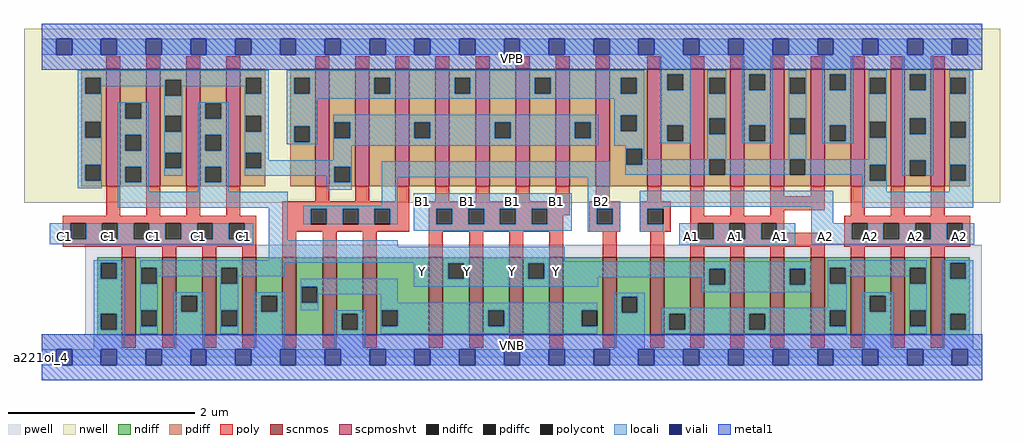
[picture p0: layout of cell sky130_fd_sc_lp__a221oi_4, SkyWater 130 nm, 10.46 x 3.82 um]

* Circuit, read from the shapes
.subckt sky130_fd_sc_lp__a221oi_4 A1 A2 B1 B2 C1 VGND VNB VPB VPWR Y
XM1 Y C1 VGND VNB sky130_fd_pr__nfet_01v8 w=0.84 l=0.15 m=4
XM2 n1 B2 VGND VNB sky130_fd_pr__nfet_01v8 w=0.84 l=0.15 m=4
XM3 Y B1 n1 VNB sky130_fd_pr__nfet_01v8 w=0.84 l=0.15 m=4
XM4 n2 A2 VGND VNB sky130_fd_pr__nfet_01v8 w=0.84 l=0.15 m=4
XM5 Y A1 n2 VNB sky130_fd_pr__nfet_01v8 w=0.84 l=0.15 m=4
XM6 Y C1 n3 VPB sky130_fd_pr__pfet_01v8_hvt w=1.26 l=0.15 m=4
XM7 n3 B2 n4 VPB sky130_fd_pr__pfet_01v8_hvt w=1.26 l=0.15 m=4
XM8 n4 B1 n3 VPB sky130_fd_pr__pfet_01v8_hvt w=1.26 l=0.15 m=4
XM9 VPWR A2 n4 VPB sky130_fd_pr__pfet_01v8_hvt w=1.26 l=0.15 m=4
XM10 n4 A1 VPWR VPB sky130_fd_pr__pfet_01v8_hvt w=1.26 l=0.15 m=4
.ends

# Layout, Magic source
magic
tech sky130A
magscale 1 2
<< nwell >>
rect -38 331 2054 704
<< pwell >>
rect 93 49 2015 241
rect 0 0 2016 49
<< scnmos >>
rect 172 47 202 215
rect 258 47 288 215
rect 344 47 374 215
rect 430 47 460 215
rect 516 47 546 215
rect 602 47 632 215
rect 688 47 718 215
rect 830 47 860 215
rect 916 47 946 215
rect 1002 47 1032 215
rect 1088 47 1118 215
rect 1202 47 1232 215
rect 1304 47 1334 215
rect 1390 47 1420 215
rect 1476 47 1506 215
rect 1562 47 1592 215
rect 1648 47 1678 215
rect 1734 47 1764 215
rect 1820 47 1850 215
rect 1906 47 1936 215
<< scpmoshvt >>
rect 138 367 168 619
rect 224 367 254 619
rect 310 367 340 619
rect 396 367 426 619
rect 586 367 616 619
rect 672 367 702 619
rect 758 367 788 619
rect 844 367 874 619
rect 930 367 960 619
rect 1016 367 1046 619
rect 1102 367 1132 619
rect 1188 367 1218 619
rect 1298 367 1328 619
rect 1390 367 1420 619
rect 1476 367 1506 619
rect 1562 367 1592 619
rect 1648 367 1678 619
rect 1734 367 1764 619
rect 1820 367 1850 619
rect 1906 367 1936 619
<< ndiff >>
rect 119 203 172 215
rect 119 169 127 203
rect 161 169 172 203
rect 119 93 172 169
rect 119 59 127 93
rect 161 59 172 93
rect 119 47 172 59
rect 202 192 258 215
rect 202 158 213 192
rect 247 158 258 192
rect 202 101 258 158
rect 202 67 213 101
rect 247 67 258 101
rect 202 47 258 67
rect 288 132 344 215
rect 288 98 299 132
rect 333 98 344 132
rect 288 47 344 98
rect 374 192 430 215
rect 374 158 385 192
rect 419 158 430 192
rect 374 101 430 158
rect 374 67 385 101
rect 419 67 430 101
rect 374 47 430 67
rect 460 132 516 215
rect 460 98 471 132
rect 505 98 516 132
rect 460 47 516 98
rect 546 151 602 215
rect 546 117 557 151
rect 591 117 602 151
rect 546 47 602 117
rect 632 93 688 215
rect 632 59 643 93
rect 677 59 688 93
rect 632 47 688 59
rect 718 101 830 215
rect 718 67 729 101
rect 763 67 830 101
rect 718 47 830 67
rect 860 202 916 215
rect 860 168 871 202
rect 905 168 916 202
rect 860 47 916 168
rect 946 101 1002 215
rect 946 67 957 101
rect 991 67 1002 101
rect 946 47 1002 67
rect 1032 202 1088 215
rect 1032 168 1043 202
rect 1077 168 1088 202
rect 1032 47 1088 168
rect 1118 101 1202 215
rect 1118 67 1157 101
rect 1191 67 1202 101
rect 1118 47 1202 67
rect 1232 130 1304 215
rect 1232 96 1243 130
rect 1277 96 1304 130
rect 1232 47 1304 96
rect 1334 93 1390 215
rect 1334 59 1345 93
rect 1379 59 1390 93
rect 1334 47 1390 59
rect 1420 190 1476 215
rect 1420 156 1431 190
rect 1465 156 1476 190
rect 1420 47 1476 156
rect 1506 93 1562 215
rect 1506 59 1517 93
rect 1551 59 1562 93
rect 1506 47 1562 59
rect 1592 190 1648 215
rect 1592 156 1603 190
rect 1637 156 1648 190
rect 1592 47 1648 156
rect 1678 192 1734 215
rect 1678 158 1689 192
rect 1723 158 1734 192
rect 1678 101 1734 158
rect 1678 67 1689 101
rect 1723 67 1734 101
rect 1678 47 1734 67
rect 1764 132 1820 215
rect 1764 98 1775 132
rect 1809 98 1820 132
rect 1764 47 1820 98
rect 1850 192 1906 215
rect 1850 158 1861 192
rect 1895 158 1906 192
rect 1850 101 1906 158
rect 1850 67 1861 101
rect 1895 67 1906 101
rect 1850 47 1906 67
rect 1936 203 1989 215
rect 1936 169 1947 203
rect 1981 169 1989 203
rect 1936 93 1989 169
rect 1936 59 1947 93
rect 1981 59 1989 93
rect 1936 47 1989 59
<< pdiff >>
rect 85 599 138 619
rect 85 565 93 599
rect 127 565 138 599
rect 85 505 138 565
rect 85 471 93 505
rect 127 471 138 505
rect 85 413 138 471
rect 85 379 93 413
rect 127 379 138 413
rect 85 367 138 379
rect 168 545 224 619
rect 168 511 179 545
rect 213 511 224 545
rect 168 477 224 511
rect 168 443 179 477
rect 213 443 224 477
rect 168 409 224 443
rect 168 375 179 409
rect 213 375 224 409
rect 168 367 224 375
rect 254 595 310 619
rect 254 561 265 595
rect 299 561 310 595
rect 254 518 310 561
rect 254 484 265 518
rect 299 484 310 518
rect 254 439 310 484
rect 254 405 265 439
rect 299 405 310 439
rect 254 367 310 405
rect 340 545 396 619
rect 340 511 351 545
rect 385 511 396 545
rect 340 477 396 511
rect 340 443 351 477
rect 385 443 396 477
rect 340 409 396 443
rect 340 375 351 409
rect 385 375 396 409
rect 340 367 396 375
rect 426 599 479 619
rect 426 565 437 599
rect 471 565 479 599
rect 426 518 479 565
rect 426 484 437 518
rect 471 484 479 518
rect 426 439 479 484
rect 426 405 437 439
rect 471 405 479 439
rect 426 367 479 405
rect 533 599 586 619
rect 533 565 541 599
rect 575 565 586 599
rect 533 495 586 565
rect 533 461 541 495
rect 575 461 586 495
rect 533 367 586 461
rect 616 504 672 619
rect 616 470 627 504
rect 661 470 672 504
rect 616 409 672 470
rect 616 375 627 409
rect 661 375 672 409
rect 616 367 672 375
rect 702 599 758 619
rect 702 565 713 599
rect 747 565 758 599
rect 702 367 758 565
rect 788 504 844 619
rect 788 470 799 504
rect 833 470 844 504
rect 788 367 844 470
rect 874 599 930 619
rect 874 565 885 599
rect 919 565 930 599
rect 874 367 930 565
rect 960 504 1016 619
rect 960 470 971 504
rect 1005 470 1016 504
rect 960 367 1016 470
rect 1046 599 1102 619
rect 1046 565 1057 599
rect 1091 565 1102 599
rect 1046 367 1102 565
rect 1132 504 1188 619
rect 1132 470 1143 504
rect 1177 470 1188 504
rect 1132 367 1188 470
rect 1218 599 1298 619
rect 1218 565 1241 599
rect 1275 565 1298 599
rect 1218 519 1298 565
rect 1218 485 1241 519
rect 1275 485 1298 519
rect 1218 447 1298 485
rect 1218 413 1253 447
rect 1287 413 1298 447
rect 1218 367 1298 413
rect 1328 607 1390 619
rect 1328 573 1341 607
rect 1375 573 1390 607
rect 1328 497 1390 573
rect 1328 463 1341 497
rect 1375 463 1390 497
rect 1328 367 1390 463
rect 1420 599 1476 619
rect 1420 565 1431 599
rect 1465 565 1476 599
rect 1420 512 1476 565
rect 1420 478 1431 512
rect 1465 478 1476 512
rect 1420 425 1476 478
rect 1420 391 1431 425
rect 1465 391 1476 425
rect 1420 367 1476 391
rect 1506 607 1562 619
rect 1506 573 1517 607
rect 1551 573 1562 607
rect 1506 497 1562 573
rect 1506 463 1517 497
rect 1551 463 1562 497
rect 1506 367 1562 463
rect 1592 599 1648 619
rect 1592 565 1603 599
rect 1637 565 1648 599
rect 1592 512 1648 565
rect 1592 478 1603 512
rect 1637 478 1648 512
rect 1592 425 1648 478
rect 1592 391 1603 425
rect 1637 391 1648 425
rect 1592 367 1648 391
rect 1678 607 1734 619
rect 1678 573 1689 607
rect 1723 573 1734 607
rect 1678 497 1734 573
rect 1678 463 1689 497
rect 1723 463 1734 497
rect 1678 367 1734 463
rect 1764 599 1820 619
rect 1764 565 1775 599
rect 1809 565 1820 599
rect 1764 505 1820 565
rect 1764 471 1775 505
rect 1809 471 1820 505
rect 1764 413 1820 471
rect 1764 379 1775 413
rect 1809 379 1820 413
rect 1764 367 1820 379
rect 1850 607 1906 619
rect 1850 573 1861 607
rect 1895 573 1906 607
rect 1850 512 1906 573
rect 1850 478 1861 512
rect 1895 478 1906 512
rect 1850 423 1906 478
rect 1850 389 1861 423
rect 1895 389 1906 423
rect 1850 367 1906 389
rect 1936 599 1989 619
rect 1936 565 1947 599
rect 1981 565 1989 599
rect 1936 505 1989 565
rect 1936 471 1947 505
rect 1981 471 1989 505
rect 1936 413 1989 471
rect 1936 379 1947 413
rect 1981 379 1989 413
rect 1936 367 1989 379
<< ndiffc >>
rect 127 169 161 203
rect 127 59 161 93
rect 213 158 247 192
rect 213 67 247 101
rect 299 98 333 132
rect 385 158 419 192
rect 385 67 419 101
rect 471 98 505 132
rect 557 117 591 151
rect 643 59 677 93
rect 729 67 763 101
rect 871 168 905 202
rect 957 67 991 101
rect 1043 168 1077 202
rect 1157 67 1191 101
rect 1243 96 1277 130
rect 1345 59 1379 93
rect 1431 156 1465 190
rect 1517 59 1551 93
rect 1603 156 1637 190
rect 1689 158 1723 192
rect 1689 67 1723 101
rect 1775 98 1809 132
rect 1861 158 1895 192
rect 1861 67 1895 101
rect 1947 169 1981 203
rect 1947 59 1981 93
<< pdiffc >>
rect 93 565 127 599
rect 93 471 127 505
rect 93 379 127 413
rect 179 511 213 545
rect 179 443 213 477
rect 179 375 213 409
rect 265 561 299 595
rect 265 484 299 518
rect 265 405 299 439
rect 351 511 385 545
rect 351 443 385 477
rect 351 375 385 409
rect 437 565 471 599
rect 437 484 471 518
rect 437 405 471 439
rect 541 565 575 599
rect 541 461 575 495
rect 627 470 661 504
rect 627 375 661 409
rect 713 565 747 599
rect 799 470 833 504
rect 885 565 919 599
rect 971 470 1005 504
rect 1057 565 1091 599
rect 1143 470 1177 504
rect 1241 565 1275 599
rect 1241 485 1275 519
rect 1253 413 1287 447
rect 1341 573 1375 607
rect 1341 463 1375 497
rect 1431 565 1465 599
rect 1431 478 1465 512
rect 1431 391 1465 425
rect 1517 573 1551 607
rect 1517 463 1551 497
rect 1603 565 1637 599
rect 1603 478 1637 512
rect 1603 391 1637 425
rect 1689 573 1723 607
rect 1689 463 1723 497
rect 1775 565 1809 599
rect 1775 471 1809 505
rect 1775 379 1809 413
rect 1861 573 1895 607
rect 1861 478 1895 512
rect 1861 389 1895 423
rect 1947 565 1981 599
rect 1947 471 1981 505
rect 1947 379 1981 413
<< poly >>
rect 138 619 168 645
rect 224 619 254 645
rect 310 619 340 645
rect 396 619 426 645
rect 586 619 616 645
rect 672 619 702 645
rect 758 619 788 645
rect 844 619 874 645
rect 930 619 960 645
rect 1016 619 1046 645
rect 1102 619 1132 645
rect 1188 619 1218 645
rect 1298 619 1328 645
rect 1390 619 1420 645
rect 1476 619 1506 645
rect 1562 619 1592 645
rect 1648 619 1678 645
rect 1734 619 1764 645
rect 1820 619 1850 645
rect 1906 619 1936 645
rect 138 303 168 367
rect 224 303 254 367
rect 310 303 340 367
rect 396 303 426 367
rect 586 335 616 367
rect 672 335 702 367
rect 758 335 788 367
rect 844 335 874 367
rect 930 335 960 367
rect 1016 335 1046 367
rect 1102 335 1132 367
rect 1188 335 1218 367
rect 1298 335 1328 367
rect 516 319 788 335
rect 45 287 460 303
rect 45 253 61 287
rect 95 253 129 287
rect 163 253 197 287
rect 231 253 265 287
rect 299 253 333 287
rect 367 253 401 287
rect 435 253 460 287
rect 45 237 460 253
rect 172 215 202 237
rect 258 215 288 237
rect 344 215 374 237
rect 430 215 460 237
rect 516 285 577 319
rect 611 285 645 319
rect 679 285 713 319
rect 747 285 788 319
rect 516 269 788 285
rect 830 319 1132 335
rect 830 285 846 319
rect 880 285 914 319
rect 948 285 982 319
rect 1016 285 1050 319
rect 1084 305 1132 319
rect 1174 319 1240 335
rect 1084 285 1118 305
rect 830 269 1118 285
rect 1174 285 1190 319
rect 1224 285 1240 319
rect 1174 269 1240 285
rect 1282 319 1348 335
rect 1282 285 1298 319
rect 1332 285 1348 319
rect 1282 269 1348 285
rect 1390 303 1420 367
rect 1476 303 1506 367
rect 1562 345 1592 367
rect 1648 345 1678 367
rect 1562 315 1678 345
rect 1562 303 1592 315
rect 1734 303 1764 367
rect 1820 303 1850 367
rect 1906 303 1936 367
rect 1390 287 1592 303
rect 516 215 546 269
rect 602 215 632 269
rect 688 215 718 269
rect 830 215 860 269
rect 916 215 946 269
rect 1002 215 1032 269
rect 1088 215 1118 269
rect 1202 215 1232 269
rect 1304 215 1334 269
rect 1390 253 1406 287
rect 1440 253 1474 287
rect 1508 253 1542 287
rect 1576 267 1592 287
rect 1720 287 1990 303
rect 1576 253 1678 267
rect 1390 237 1678 253
rect 1720 253 1736 287
rect 1770 253 1804 287
rect 1838 253 1872 287
rect 1906 253 1940 287
rect 1974 253 1990 287
rect 1720 237 1990 253
rect 1390 215 1420 237
rect 1476 215 1506 237
rect 1562 215 1592 237
rect 1648 215 1678 237
rect 1734 215 1764 237
rect 1820 215 1850 237
rect 1906 215 1936 237
rect 172 21 202 47
rect 258 21 288 47
rect 344 21 374 47
rect 430 21 460 47
rect 516 21 546 47
rect 602 21 632 47
rect 688 21 718 47
rect 830 21 860 47
rect 916 21 946 47
rect 1002 21 1032 47
rect 1088 21 1118 47
rect 1202 21 1232 47
rect 1304 21 1334 47
rect 1390 21 1420 47
rect 1476 21 1506 47
rect 1562 21 1592 47
rect 1648 21 1678 47
rect 1734 21 1764 47
rect 1820 21 1850 47
rect 1906 21 1936 47
<< polycont >>
rect 61 253 95 287
rect 129 253 163 287
rect 197 253 231 287
rect 265 253 299 287
rect 333 253 367 287
rect 401 253 435 287
rect 577 285 611 319
rect 645 285 679 319
rect 713 285 747 319
rect 846 285 880 319
rect 914 285 948 319
rect 982 285 1016 319
rect 1050 285 1084 319
rect 1190 285 1224 319
rect 1298 285 1332 319
rect 1406 253 1440 287
rect 1474 253 1508 287
rect 1542 253 1576 287
rect 1736 253 1770 287
rect 1804 253 1838 287
rect 1872 253 1906 287
rect 1940 253 1974 287
<< locali >>
rect 0 649 31 683
rect 65 649 127 683
rect 161 649 223 683
rect 257 649 319 683
rect 353 649 415 683
rect 449 649 511 683
rect 545 649 607 683
rect 641 649 703 683
rect 737 649 799 683
rect 833 649 895 683
rect 929 649 991 683
rect 1025 649 1087 683
rect 1121 649 1183 683
rect 1217 649 1279 683
rect 1313 649 1375 683
rect 1409 649 1471 683
rect 1505 649 1567 683
rect 1601 649 1663 683
rect 1697 649 1759 683
rect 1793 649 1855 683
rect 1889 649 1951 683
rect 1985 649 2016 683
rect 77 599 487 615
rect 77 565 93 599
rect 127 595 437 599
rect 127 581 265 595
rect 127 565 129 581
rect 77 505 129 565
rect 263 561 265 581
rect 299 581 437 595
rect 299 561 301 581
rect 77 471 93 505
rect 127 471 129 505
rect 77 413 129 471
rect 77 379 93 413
rect 127 379 129 413
rect 77 363 129 379
rect 163 545 229 547
rect 163 511 179 545
rect 213 511 229 545
rect 163 477 229 511
rect 163 443 179 477
rect 213 443 229 477
rect 163 409 229 443
rect 163 375 179 409
rect 213 375 229 409
rect 263 518 301 561
rect 435 565 437 581
rect 471 565 487 599
rect 263 484 265 518
rect 299 484 301 518
rect 263 439 301 484
rect 263 405 265 439
rect 299 405 301 439
rect 263 389 301 405
rect 335 545 401 547
rect 335 511 351 545
rect 385 511 401 545
rect 335 477 401 511
rect 335 443 351 477
rect 385 443 401 477
rect 335 409 401 443
rect 163 355 229 375
rect 335 375 351 409
rect 385 375 401 409
rect 435 518 487 565
rect 435 484 437 518
rect 471 484 487 518
rect 435 439 487 484
rect 525 599 1291 615
rect 525 565 541 599
rect 575 565 713 599
rect 747 565 885 599
rect 919 565 1057 599
rect 1091 565 1241 599
rect 1275 565 1291 599
rect 525 554 1291 565
rect 525 495 591 554
rect 525 461 541 495
rect 575 461 591 495
rect 525 457 591 461
rect 625 504 1193 520
rect 625 470 627 504
rect 661 470 799 504
rect 833 470 971 504
rect 1005 470 1143 504
rect 1177 470 1193 504
rect 435 405 437 439
rect 471 423 487 439
rect 625 454 1193 470
rect 1227 519 1291 554
rect 1227 485 1241 519
rect 1275 485 1291 519
rect 1227 454 1291 485
rect 1325 607 1391 649
rect 1325 573 1341 607
rect 1375 573 1391 607
rect 1325 497 1391 573
rect 1325 463 1341 497
rect 1375 463 1391 497
rect 1325 459 1391 463
rect 1427 599 1467 615
rect 1427 565 1431 599
rect 1465 565 1467 599
rect 1427 512 1467 565
rect 1427 478 1431 512
rect 1465 478 1467 512
rect 625 423 665 454
rect 471 409 665 423
rect 1251 447 1291 454
rect 471 405 627 409
rect 435 389 627 405
rect 335 355 401 375
rect 611 375 627 389
rect 661 375 665 409
rect 611 359 665 375
rect 729 386 1217 420
rect 1251 413 1253 447
rect 1287 425 1291 447
rect 1427 425 1467 478
rect 1501 607 1567 649
rect 1501 573 1517 607
rect 1551 573 1567 607
rect 1501 497 1567 573
rect 1501 463 1517 497
rect 1551 463 1567 497
rect 1501 459 1567 463
rect 1601 599 1639 615
rect 1601 565 1603 599
rect 1637 565 1639 599
rect 1601 512 1639 565
rect 1601 478 1603 512
rect 1637 478 1639 512
rect 1601 425 1639 478
rect 1673 607 1739 649
rect 1673 573 1689 607
rect 1723 573 1739 607
rect 1673 497 1739 573
rect 1673 463 1689 497
rect 1723 463 1739 497
rect 1673 459 1739 463
rect 1773 599 1811 615
rect 1773 565 1775 599
rect 1809 565 1811 599
rect 1773 505 1811 565
rect 1773 471 1775 505
rect 1809 471 1811 505
rect 1773 425 1811 471
rect 1287 413 1431 425
rect 1251 391 1431 413
rect 1465 391 1603 425
rect 1637 413 1811 425
rect 1637 391 1775 413
rect 163 321 527 355
rect 729 325 763 386
rect 17 253 61 287
rect 95 253 129 287
rect 163 253 197 287
rect 231 253 265 287
rect 299 253 333 287
rect 367 253 401 287
rect 435 253 453 287
rect 17 242 453 253
rect 487 251 527 321
rect 561 319 763 325
rect 561 285 577 319
rect 611 285 645 319
rect 679 285 713 319
rect 747 285 763 319
rect 797 319 1136 352
rect 797 285 846 319
rect 880 285 914 319
rect 948 285 982 319
rect 1016 285 1050 319
rect 1084 285 1136 319
rect 797 271 1136 285
rect 1170 335 1217 386
rect 1759 379 1775 391
rect 1809 379 1811 413
rect 1845 607 1911 649
rect 1845 573 1861 607
rect 1895 573 1911 607
rect 1845 512 1911 573
rect 1845 478 1861 512
rect 1895 478 1911 512
rect 1845 423 1911 478
rect 1845 389 1861 423
rect 1895 389 1911 423
rect 1945 599 1997 615
rect 1945 565 1947 599
rect 1981 565 1997 599
rect 1945 505 1997 565
rect 1945 471 1947 505
rect 1981 471 1997 505
rect 1945 413 1997 471
rect 1170 319 1240 335
rect 1170 285 1190 319
rect 1224 285 1240 319
rect 1170 269 1240 285
rect 1282 323 1697 357
rect 1282 319 1332 323
rect 1282 285 1298 319
rect 1649 287 1697 323
rect 1759 355 1811 379
rect 1945 379 1947 413
rect 1981 379 1997 413
rect 1945 355 1997 379
rect 1759 321 1997 355
rect 1282 269 1332 285
rect 1366 253 1406 287
rect 1440 253 1474 287
rect 1508 253 1542 287
rect 1576 253 1615 287
rect 487 237 763 251
rect 1366 240 1615 253
rect 1649 253 1736 287
rect 1770 253 1804 287
rect 1838 253 1872 287
rect 1906 253 1940 287
rect 1974 253 1999 287
rect 1649 242 1999 253
rect 487 208 1121 237
rect 111 203 177 208
rect 111 169 127 203
rect 161 169 177 203
rect 111 93 177 169
rect 111 59 127 93
rect 161 59 177 93
rect 111 17 177 59
rect 211 206 1121 208
rect 211 203 1651 206
rect 211 192 521 203
rect 211 158 213 192
rect 247 174 385 192
rect 247 158 249 174
rect 211 101 249 158
rect 383 158 385 174
rect 419 174 521 192
rect 797 202 1651 203
rect 419 158 421 174
rect 211 67 213 101
rect 247 67 249 101
rect 211 51 249 67
rect 283 132 349 140
rect 283 98 299 132
rect 333 98 349 132
rect 283 17 349 98
rect 383 101 421 158
rect 555 151 763 169
rect 797 168 871 202
rect 905 168 1043 202
rect 1077 190 1651 202
rect 1077 172 1431 190
rect 1077 168 1193 172
rect 797 151 1193 168
rect 1415 156 1431 172
rect 1465 156 1603 190
rect 1637 156 1651 190
rect 383 67 385 101
rect 419 67 421 101
rect 383 51 421 67
rect 455 132 521 140
rect 455 98 471 132
rect 505 98 521 132
rect 555 117 557 151
rect 591 135 763 151
rect 1415 140 1651 156
rect 1685 192 1897 208
rect 1685 158 1689 192
rect 1723 174 1861 192
rect 1723 158 1725 174
rect 591 117 593 135
rect 555 101 593 117
rect 727 117 763 135
rect 1227 130 1293 138
rect 727 101 1191 117
rect 455 17 521 98
rect 627 93 693 101
rect 627 59 643 93
rect 677 59 693 93
rect 627 17 693 59
rect 727 67 729 101
rect 763 67 957 101
rect 991 67 1157 101
rect 727 51 1191 67
rect 1227 96 1243 130
rect 1277 96 1293 130
rect 1685 106 1725 158
rect 1859 158 1861 174
rect 1895 158 1897 192
rect 1227 17 1293 96
rect 1329 101 1725 106
rect 1329 93 1689 101
rect 1329 59 1345 93
rect 1379 59 1517 93
rect 1551 67 1689 93
rect 1723 67 1725 101
rect 1551 59 1725 67
rect 1329 51 1725 59
rect 1759 132 1825 140
rect 1759 98 1775 132
rect 1809 98 1825 132
rect 1759 17 1825 98
rect 1859 101 1897 158
rect 1859 67 1861 101
rect 1895 67 1897 101
rect 1859 51 1897 67
rect 1931 203 1997 208
rect 1931 169 1947 203
rect 1981 169 1997 203
rect 1931 93 1997 169
rect 1931 59 1947 93
rect 1981 59 1997 93
rect 1931 17 1997 59
rect 0 -17 31 17
rect 65 -17 127 17
rect 161 -17 223 17
rect 257 -17 319 17
rect 353 -17 415 17
rect 449 -17 511 17
rect 545 -17 607 17
rect 641 -17 703 17
rect 737 -17 799 17
rect 833 -17 895 17
rect 929 -17 991 17
rect 1025 -17 1087 17
rect 1121 -17 1183 17
rect 1217 -17 1279 17
rect 1313 -17 1375 17
rect 1409 -17 1471 17
rect 1505 -17 1567 17
rect 1601 -17 1663 17
rect 1697 -17 1759 17
rect 1793 -17 1855 17
rect 1889 -17 1951 17
rect 1985 -17 2016 17
<< viali >>
rect 31 649 65 683
rect 127 649 161 683
rect 223 649 257 683
rect 319 649 353 683
rect 415 649 449 683
rect 511 649 545 683
rect 607 649 641 683
rect 703 649 737 683
rect 799 649 833 683
rect 895 649 929 683
rect 991 649 1025 683
rect 1087 649 1121 683
rect 1183 649 1217 683
rect 1279 649 1313 683
rect 1375 649 1409 683
rect 1471 649 1505 683
rect 1567 649 1601 683
rect 1663 649 1697 683
rect 1759 649 1793 683
rect 1855 649 1889 683
rect 1951 649 1985 683
rect 31 -17 65 17
rect 127 -17 161 17
rect 223 -17 257 17
rect 319 -17 353 17
rect 415 -17 449 17
rect 511 -17 545 17
rect 607 -17 641 17
rect 703 -17 737 17
rect 799 -17 833 17
rect 895 -17 929 17
rect 991 -17 1025 17
rect 1087 -17 1121 17
rect 1183 -17 1217 17
rect 1279 -17 1313 17
rect 1375 -17 1409 17
rect 1471 -17 1505 17
rect 1567 -17 1601 17
rect 1663 -17 1697 17
rect 1759 -17 1793 17
rect 1855 -17 1889 17
rect 1951 -17 1985 17
<< metal1 >>
rect 0 683 2016 715
rect 0 649 31 683
rect 65 649 127 683
rect 161 649 223 683
rect 257 649 319 683
rect 353 649 415 683
rect 449 649 511 683
rect 545 649 607 683
rect 641 649 703 683
rect 737 649 799 683
rect 833 649 895 683
rect 929 649 991 683
rect 1025 649 1087 683
rect 1121 649 1183 683
rect 1217 649 1279 683
rect 1313 649 1375 683
rect 1409 649 1471 683
rect 1505 649 1567 683
rect 1601 649 1663 683
rect 1697 649 1759 683
rect 1793 649 1855 683
rect 1889 649 1951 683
rect 1985 649 2016 683
rect 0 617 2016 649
rect 0 17 2016 49
rect 0 -17 31 17
rect 65 -17 127 17
rect 161 -17 223 17
rect 257 -17 319 17
rect 353 -17 415 17
rect 449 -17 511 17
rect 545 -17 607 17
rect 641 -17 703 17
rect 737 -17 799 17
rect 833 -17 895 17
rect 929 -17 991 17
rect 1025 -17 1087 17
rect 1121 -17 1183 17
rect 1217 -17 1279 17
rect 1313 -17 1375 17
rect 1409 -17 1471 17
rect 1505 -17 1567 17
rect 1601 -17 1663 17
rect 1697 -17 1759 17
rect 1793 -17 1855 17
rect 1889 -17 1951 17
rect 1985 -17 2016 17
rect 0 -49 2016 -17
<< labels >>
flabel pwell s 0 0 2016 49 0 FreeSans 200 0 0 0 VNB
port 7 nsew ground bidirectional
flabel nwell s 0 617 2016 666 0 FreeSans 200 0 0 0 VPB
port 8 nsew power bidirectional
rlabel comment s 0 0 0 0 4 a221oi_4
flabel metal1 s 0 617 2016 666 0 FreeSans 340 0 0 0 VPWR
port 9 nsew power bidirectional
flabel metal1 s 0 0 2016 49 0 FreeSans 340 0 0 0 VGND
port 6 nsew ground bidirectional
flabel locali s 1375 242 1409 276 0 FreeSans 340 0 0 0 A1
port 1 nsew signal input
flabel locali s 1471 242 1505 276 0 FreeSans 340 0 0 0 A1
port 1 nsew signal input
flabel locali s 1567 242 1601 276 0 FreeSans 340 0 0 0 A1
port 1 nsew signal input
flabel locali s 799 168 833 202 0 FreeSans 340 0 0 0 Y
port 10 nsew signal output
flabel locali s 895 168 929 202 0 FreeSans 340 0 0 0 Y
port 10 nsew signal output
flabel locali s 991 168 1025 202 0 FreeSans 340 0 0 0 Y
port 10 nsew signal output
flabel locali s 1087 168 1121 202 0 FreeSans 340 0 0 0 Y
port 10 nsew signal output
flabel locali s 1663 242 1697 276 0 FreeSans 340 0 0 0 A2
port 2 nsew signal input
flabel locali s 1759 242 1793 276 0 FreeSans 340 0 0 0 A2
port 2 nsew signal input
flabel locali s 1855 242 1889 276 0 FreeSans 340 0 0 0 A2
port 2 nsew signal input
flabel locali s 1951 242 1985 276 0 FreeSans 340 0 0 0 A2
port 2 nsew signal input
flabel locali s 799 316 833 350 0 FreeSans 340 0 0 0 B1
port 3 nsew signal input
flabel locali s 895 316 929 350 0 FreeSans 340 0 0 0 B1
port 3 nsew signal input
flabel locali s 991 316 1025 350 0 FreeSans 340 0 0 0 B1
port 3 nsew signal input
flabel locali s 1087 316 1121 350 0 FreeSans 340 0 0 0 B1
port 3 nsew signal input
flabel locali s 31 242 65 276 0 FreeSans 340 0 0 0 C1
port 5 nsew signal input
flabel locali s 127 242 161 276 0 FreeSans 340 0 0 0 C1
port 5 nsew signal input
flabel locali s 223 242 257 276 0 FreeSans 340 0 0 0 C1
port 5 nsew signal input
flabel locali s 319 242 353 276 0 FreeSans 340 0 0 0 C1
port 5 nsew signal input
flabel locali s 415 242 449 276 0 FreeSans 340 0 0 0 C1
port 5 nsew signal input
flabel locali s 1183 316 1217 350 0 FreeSans 340 0 0 0 B2
port 4 nsew signal input
<< properties >>
string LEFsite unit
string LEFclass CORE
string FIXED_BBOX 0 0 2016 666
string GDS_FILE $PDKPATH/libs.ref/sky130_fd_sc_lp/gds/sky130_fd_sc_lp.gds
string LEFsymmetry X Y R90
string GDS_END 3977276
string GDS_START 3960696
<< end >>
